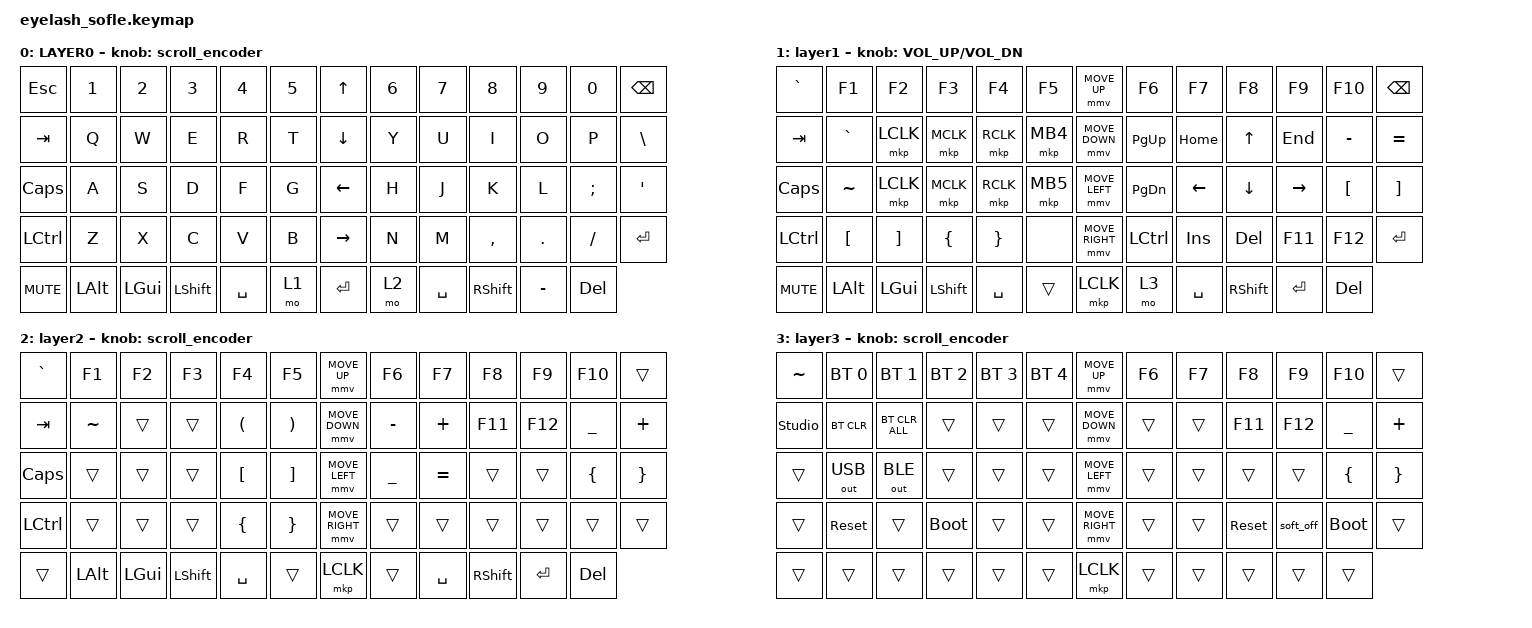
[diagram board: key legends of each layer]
#define ZMK_POINTING_DEFAULT_MOVE_VAL 1200  // 600
#define ZMK_POINTING_DEFAULT_SCRL_VAL 25   // 10

#include <input/processors.dtsi>
#include <zephyr/dt-bindings/input/input-event-codes.h>
#include <behaviors.dtsi>
#include <dt-bindings/zmk/bt.h>
#include <dt-bindings/zmk/ext_power.h>
#include <dt-bindings/zmk/keys.h>
#include <dt-bindings/zmk/pointing.h>
#include <dt-bindings/zmk/rgb.h>
#include <dt-bindings/zmk/outputs.h>

&mmv_input_listener { input-processors = <&zip_xy_scaler 2 1>; };

&msc_input_listener { input-processors = <&zip_scroll_scaler 2 1>; };

&msc {
    acceleration-exponent = <1>;      // 0
    time-to-max-speed-ms = <100>;       // 300
    delay-ms = <0>;                   // 0
};

&mmv {
    time-to-max-speed-ms = <500>;
    acceleration-exponent = <1>;
    trigger-period-ms = <16>;
};


/ {

    scroll_encoder: scroll_encoder {
        compatible = "zmk,behavior-sensor-rotate";
        #sensor-binding-cells = <0>;
        bindings = <&msc SCRL_DOWN>, <&msc SCRL_UP>;
        tap-ms = <100>;
    };

    keymap {
        compatible = "zmk,keymap";

        layer0 {
            bindings = <
&kp ESC     &kp N1        &kp N2        &kp N3        &kp N4    &kp N5       &kp UP_ARROW     &kp N6     &kp N7     &kp N8          &kp N9           &kp N0      &kp BACKSPACE
&kp TAB     &kp Q         &kp W         &kp E         &kp R     &kp T        &kp DOWN_ARROW   &kp Y      &kp U      &kp I           &kp O            &kp P       &kp BSLH
&kp CAPS    &kp A         &kp S         &kp D         &kp F     &kp G        &kp LEFT_ARROW   &kp H      &kp J      &kp K           &kp L            &kp SEMI    &kp APOS
&kp LCTRL   &kp Z         &kp X         &kp C         &kp V     &kp B        &kp RIGHT_ARROW  &kp N      &kp M      &kp COMMA       &kp DOT          &kp FSLH    &kp ENTER
&kp C_MUTE  &kp LEFT_ALT  &kp LEFT_GUI  &kp LSHFT     &kp SPACE &mo 1        &kp ENTER        &mo 2      &kp SPACE  &kp RSHIFT      &kp MINUS        &kp DEL
            >;

            display-name = "LAYER0";
            sensor-bindings = <&scroll_encoder>;

        };

        layer_1 {
            bindings = <
&kp GRAVE   &kp F1           &kp F2          &kp F3           &kp F4           &kp F5             &mmv MOVE_UP     &kp F6           &kp F7           &kp F8      &kp F9     &kp F10           &kp BACKSPACE
&kp TAB     &kp GRAVE        &mkp LCLK       &mkp MCLK        &mkp RCLK        &mkp MB4           &mmv MOVE_DOWN   &kp PG_UP        &kp HOME         &kp UP      &kp END    &kp MINUS         &kp EQUAL
&kp CAPS    &kp TILDE        &mkp LCLK       &mkp MCLK        &mkp RCLK        &mkp MB5           &mmv MOVE_LEFT   &kp PG_DN        &kp LEFT         &kp DOWN    &kp RIGHT  &kp LEFT_BRACKET  &kp RIGHT_BRACKET
&kp LCTRL   &kp LBKT         &kp RBKT        &kp LBRC         &kp RBRC         &none              &mmv MOVE_RIGHT  &kp LCTRL        &kp INSERT       &kp DEL     &kp F11    &kp F12           &kp ENTER
&kp C_MUTE  &kp LEFT_ALT     &kp LEFT_GUI    &kp LSHFT        &kp SPACE        &trans             &mkp LCLK        &mo 3            &kp SPACE        &kp RSHIFT  &kp ENTER  &kp DEL
            >;

            display-name = "layer1";
            sensor-bindings = <&inc_dec_kp C_VOLUME_UP C_VOL_DN>;
        };

        layer_2 {
            bindings = <
&kp GRAVE  &kp F1        &kp F2          &kp F3        &kp F4        &kp F5            &mmv MOVE_UP     &kp F6     &kp F7    &kp F8      &kp F9     &kp F10      &trans
&kp TAB    &kp TILDE     &trans          &trans        &kp LPAR      &kp RPAR          &mmv MOVE_DOWN   &kp MINUS  &kp PLUS  &kp F11     &kp F12    &kp UNDER    &kp PLUS
&kp CAPS   &trans        &trans          &trans        &kp LBKT      &kp RBKT          &mmv MOVE_LEFT   &kp UNDER  &kp EQUAL &trans      &trans     &kp LBRC     &kp RBRC
&kp LCTRL  &trans        &trans          &trans        &kp LBRC      &kp RBRC          &mmv MOVE_RIGHT  &trans     &trans    &trans      &trans     &trans       &trans
&trans     &kp LEFT_ALT  &kp LEFT_GUI    &kp LSHFT  &kp SPACE        &trans            &mkp LCLK        &trans     &kp SPACE &kp RSHIFT  &kp ENTER  &kp DEL
            >;

            display-name = "layer2";
            sensor-bindings = <&scroll_encoder>;
        };

        layer_3 {
            bindings = <
&kp TILDE       &bt BT_SEL 0  &bt BT_SEL 1    &bt BT_SEL 2  &bt BT_SEL 3  &bt BT_SEL 4    &mmv MOVE_UP     &kp F6  &kp F7  &kp F8      &kp F9     &kp F10      &trans
&studio_unlock  &bt BT_CLR    &bt BT_CLR_ALL  &trans        &trans        &trans          &mmv MOVE_DOWN   &trans  &trans  &kp F11     &kp F12    &kp UNDER    &kp PLUS
&trans          &out OUT_USB  &out OUT_BLE    &trans        &trans        &trans          &mmv MOVE_LEFT   &trans  &trans  &trans      &trans     &kp LBRC     &kp RBRC
&trans          &sys_reset    &trans          &bootloader   &trans        &trans          &mmv MOVE_RIGHT  &trans  &trans  &sys_reset  &soft_off  &bootloader  &trans
&trans          &trans        &trans          &trans        &trans        &trans          &mkp LCLK        &trans  &trans  &trans      &trans     &trans
            >;

            display-name = "layer3";
            sensor-bindings = <&scroll_encoder>;
        };
    };
};
